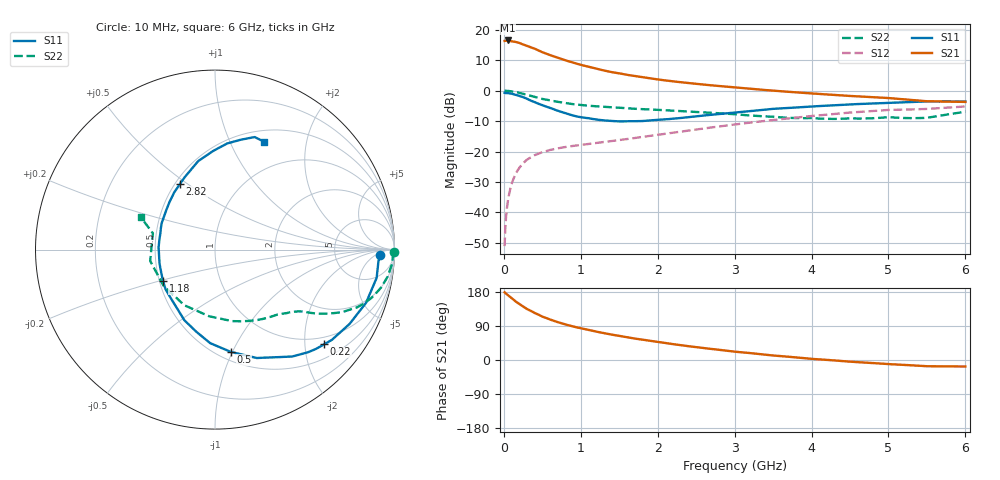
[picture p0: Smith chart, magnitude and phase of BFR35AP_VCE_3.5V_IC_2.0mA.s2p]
! Infineon Technologies  Discrete & RF Semiconductors
! BFR35AP
! VCE =  3.5 V,  IC =  2.0 mA
! Common Emitter S-Parameters:  Nov 2015
# GHz  S  MA  R  50
!  f  S11  S21  S12  S22
! GHz  MAG  ANG  MAG  ANG  MAG  ANG  MAG  ANG
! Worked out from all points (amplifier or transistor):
!   210 points, 10 MHz to 6 GHz, reference 50 ohm
!   highest |S21| = 16.5 dB at 50 MHz (marker M1)
!   |S21| within 3 dB of that: start of sweep to 426.1 MHz
!   unconditionally stable (mu >= 1): 1.17 GHz to 3.844 GHz; 5.339 GHz to 5.858 GHz
!   at 185 MHz: K = 0.22, MSG = 20.9 dB, |S12| = -26.0 dB
!   at 1.52 GHz: K = 1.12, MAG = 8.7 dB, |S12| = -16.2 dB
!   at 6 GHz: K = 0.99, MSG = 0.7 dB, |S12| = -5.2 dB
!   S11 on the Smith chart (normalised r, x): 10 MHz: 21, -9; 220 MHz: 0.81, -2.44; 500 MHz: 0.58, -0.99; 1.18 GHz: 0.52, -0.21; 2.82 GHz: 0.53, +0.47; 6 GHz: 0.64, +1.36
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0.01  0.9218 -2.0  6.532 178.6  0.0028 90.0  0.9975 -0.8
0.025  0.9125 -5.1  6.579 175.7  0.0074 85.4  0.9916 -2.2
0.05  0.9143 -9.9  6.649 171.7  0.0147 82.7  0.9903 -4.5
0.095  0.8934 -18.4  6.459 164.7  0.0277 79.2  0.9756 -8.4
0.15  0.8566 -28.9  6.299 155.0  0.0421 73.1  0.9499 -12.8
0.2  0.8227 -37.7  6.065 148.0  0.0538 68.6  0.9195 -16.4
0.22  0.8048 -41.0  5.915 145.4  0.0579 66.6  0.9062 -17.7
0.3  0.7352 -54.1  5.432 134.7  0.0734 60.7  0.8547 -22.1
0.4  0.6475 -68.9  4.877 124.2  0.0872 55.0  0.7885 -26.3
0.5  0.5768 -81.2  4.272 114.5  0.0975 50.8  0.73 -29.2
0.6  0.5221 -92.9  3.826 106.9  0.1061 47.9  0.6897 -31.2
0.7  0.4676 -103.2  3.472 99.9  0.1128 46.1  0.6545 -32.8
0.9  0.3894 -122.9  2.874 88.3  0.1237 44.6  0.5989 -35.2
1.02  0.3625 -134.2  2.609 82.8  0.1291 44.1  0.5768 -36.7
1.18  0.3385 -148.6  2.326 75.7  0.1374 44.1  0.5553 -38.7
1.6  0.3147 177.7  1.815 60.0  0.1601 45.5  0.5141 -44.4
2.02  0.3329 152.2  1.514 47.0  0.1896 47.1  0.482 -51.5
2.82  0.4146 118.0  1.181 26.3  0.2601 45.7  0.4231 -70.7
3.1  0.4475 110.3  1.101 20.2  0.2878 43.6  0.3993 -79.9
4.1  0.5574 89.6  0.881 1.7  0.3929 33.6  0.3476 -124.1
5.1  0.6354 75.5  0.737 -11.8  0.4843 19.1  0.3596 -174.8
6  0.6609 65.4  0.652 -17.2  0.5493 7.9  0.4497 156.5
